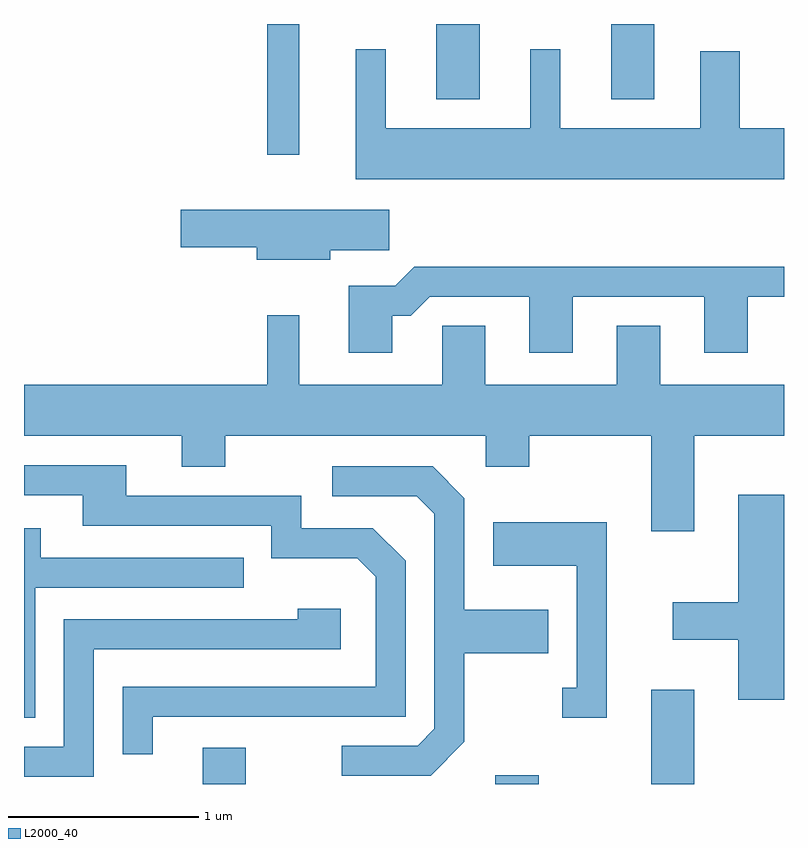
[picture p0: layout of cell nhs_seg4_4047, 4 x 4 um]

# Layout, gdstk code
import gdstk
lib = gdstk.Library(unit=1e-6, precision=1e-09)
def R(c, l, rs):  # rectangles x0, y0, x1, y1
    for r in rs: c.add(gdstk.rectangle(r[:2], r[2:], *l))
def P(c, l, *ps):  # polygons
    for p in ps: c.add(gdstk.Polygon(p, *l))
L2000_40 = (2000, 40)

nhs_seg4_4047 = lib.new_cell('nhs_seg4_4047')
R(nhs_seg4_4047, L2000_40, [(304.551,1323.982,304.779,1324.174), (306.091,1323.982,306.319,1324.029), (306.911,1323.982,307.139,1324.479), (304.891,1327.293,305.059,1327.982), (305.781,1327.586,306.009,1327.982), (306.701,1327.586,306.929,1327.982)])
P(nhs_seg4_4047, L2000_40, [(307.611,1327.434),(307.379,1327.434),(307.379,1327.839),(307.171,1327.839),(307.171,1327.434),(306.434,1327.434),(306.434,1327.848),(306.276,1327.848),(306.276,1327.434),(305.514,1327.434),(305.514,1327.848),(305.356,1327.848),(305.356,1327.166),(307.611,1327.166)],
  [(305.224,1326.791),(305.534,1326.791),(305.534,1327.004),(304.436,1327.004),(304.436,1326.806),(304.836,1326.806),(304.836,1326.741),(305.224,1326.741)],
  [(305.549,1326.446),(305.647,1326.446),(305.747,1326.546),(306.271,1326.546),(306.271,1326.251),(306.499,1326.251),(306.499,1326.546),(307.191,1326.546),(307.191,1326.251),(307.419,1326.251),(307.419,1326.546),(307.611,1326.546),(307.611,1326.704),(305.664,1326.704),(305.564,1326.604),(305.321,1326.604),(305.321,1326.251),(305.549,1326.251)],
  [(304.891,1326.448),(304.891,1326.084),(303.611,1326.084),(303.611,1325.816),(304.441,1325.816),(304.441,1325.651),(304.669,1325.651),(304.669,1325.816),(306.041,1325.816),(306.041,1325.651),(306.269,1325.651),(306.269,1325.816),(306.911,1325.816),(306.911,1325.311),(307.139,1325.311),(307.139,1325.816),(307.611,1325.816),(307.611,1326.084),(306.959,1326.084),(306.959,1326.394),(306.731,1326.394),(306.731,1326.084),(306.039,1326.084),(306.039,1326.394),(305.811,1326.394),(305.811,1326.084),(305.059,1326.084),(305.059,1326.448)],
  [(304.289,1324.336),(305.619,1324.336),(305.619,1325.157),(305.447,1325.329),(305.069,1325.329),(305.069,1325.499),(304.149,1325.499),(304.149,1325.659),(303.611,1325.659),(303.611,1325.501),(303.921,1325.501),(303.921,1325.341),(304.911,1325.341),(304.911,1325.171),(305.364,1325.171),(305.461,1325.074),(305.461,1324.494),(304.131,1324.494),(304.131,1324.138),(304.289,1324.138)],
  [(305.929,1324.204),(305.929,1324.671),(306.369,1324.671),(306.369,1324.899),(305.929,1324.899),(305.929,1325.487),(305.762,1325.654),(305.233,1325.654),(305.233,1325.496),(305.679,1325.496),(305.771,1325.404),(305.771,1324.272),(305.684,1324.184),(305.283,1324.184),(305.283,1324.026),(305.752,1324.026)],
  [(307.611,1325.504),(307.371,1325.504),(307.371,1324.939),(307.026,1324.939),(307.026,1324.741),(307.371,1324.741),(307.371,1324.426),(307.611,1324.426)],
  [(306.679,1325.359),(306.081,1325.359),(306.081,1325.131),(306.521,1325.131),(306.521,1324.489),(306.443,1324.489),(306.443,1324.331),(306.679,1324.331)],
  [(303.669,1325.016),(304.768,1325.016),(304.768,1325.174),(303.699,1325.174),(303.699,1325.329),(303.611,1325.329),(303.611,1324.331),(303.669,1324.331)],
  [(303.979,1324.691),(305.279,1324.691),(305.279,1324.904),(305.051,1324.904),(305.051,1324.849),(303.821,1324.849),(303.821,1324.179),(303.611,1324.179),(303.611,1324.021),(303.979,1324.021)])

lib.write_gds('nhs_seg4_4047.gds')
